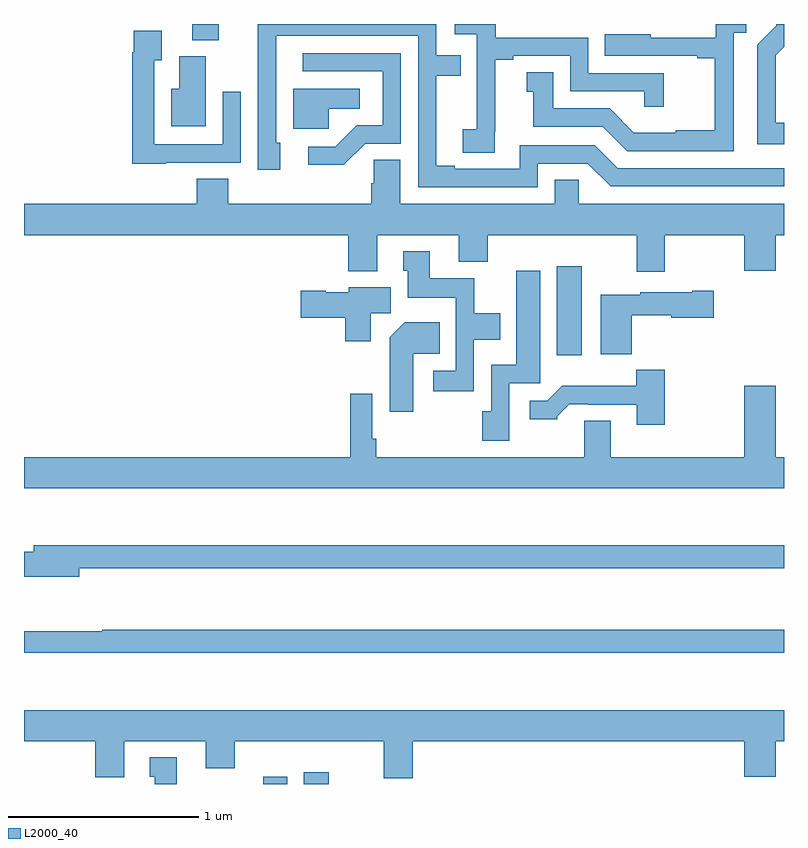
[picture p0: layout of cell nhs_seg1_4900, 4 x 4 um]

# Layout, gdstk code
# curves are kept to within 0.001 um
import gdstk
lib = gdstk.Library(unit=1e-6, precision=1e-09)
def R(c, l, rs):  # rectangles x0, y0, x1, y1
    for r in rs: c.add(gdstk.rectangle(r[:2], r[2:], *l))
def P(c, l, *ps):  # polygons
    for p in ps: c.add(gdstk.Polygon(p, *l))
L2000_40 = (2000, 40)

nhs_seg1_4900 = lib.new_cell('nhs_seg1_4900')
R(nhs_seg1_4900, L2000_40, [(378.26,526.199,378.385,526.237), (378.473,526.199,378.604,526.261), (379.805,528.456,379.936,528.925), (377.885,530.113,378.025,530.199)])
P(nhs_seg1_4900, L2000_40, [(379.478,529.633),(379.48,529.633),(379.48,530.011),(379.576,530.011),(379.576,530.031),(379.875,530.031),(379.875,529.845),(380.265,529.845),(380.265,529.764),(380.366,529.764),(380.366,529.941),(379.971,529.941),(379.971,530.127),(379.484,530.127),(379.484,530.199),(379.266,530.199),(379.266,530.145),(379.383,530.145),(379.383,529.841),(379.382,529.841),(379.382,529.644),(379.308,529.644),(379.308,529.522),(379.478,529.522)],
  [(379.704,529.464),(379.968,529.464),(380.088,529.344),(381,529.344),(381,529.44),(380.124,529.44),(380.004,529.56),(379.608,529.56),(379.608,529.437),(379.267,529.437),(379.267,529.452),(379.171,529.452),(379.171,529.926),(379.298,529.926),(379.298,530.034),(379.17,530.034),(379.17,530.199),(378.23,530.199),(378.231,529.431),(378.349,529.431),(378.349,529.575),(378.327,529.575),(378.327,530.136),(379.074,530.136),(379.074,529.341),(379.704,529.341)],
  [(381,529.679),(380.956,529.679),(380.956,530.035),(381,530.079),(381,530.199),(380.958,530.199),(380.958,530.189),(380.859,530.09),(380.859,529.566),(381,529.566)],
  [(380.736,530.153),(380.801,530.153),(380.801,530.199),(380.64,530.199),(380.64,530.127),(380.299,530.127),(380.299,530.146),(380.056,530.146),(380.056,530.031),(380.543,530.031),(380.543,530.019),(380.635,530.019),(380.635,529.639),(380.429,529.639),(380.429,529.627),(380.21,529.627),(380.082,529.755),(379.786,529.755),(379.786,529.946),(379.646,529.946),(379.646,529.843),(379.679,529.843),(379.679,529.659),(380.046,529.659),(380.175,529.53),(380.736,529.53)],
  [(377.745,529.47),(378.141,529.47),(378.141,529.843),(378.045,529.843),(378.045,529.566),(377.685,529.566),(377.685,530.008),(377.725,530.008),(377.725,530.164),(377.577,530.164),(377.577,530.051),(377.569,530.051),(377.569,529.463),(377.745,529.463)],
  [(378.795,529.569),(378.984,529.569),(378.984,530.046),(378.468,530.046),(378.468,529.95),(378.888,529.95),(378.888,529.665),(378.75,529.665),(378.639,529.554),(378.495,529.554),(378.495,529.457),(378.682,529.457)],
  [(377.956,530.028),(377.816,530.028),(377.816,529.858),(377.774,529.858),(377.774,529.661),(377.956,529.661)],
  [(378.603,529.754),(378.766,529.754),(378.766,529.858),(378.416,529.858),(378.416,529.647),(378.603,529.647)],
  [(380.373,529.088),(380.792,529.088),(380.792,528.9),(380.956,528.9),(380.956,529.088),(381,529.088),(381,529.252),(379.92,529.252),(379.92,529.379),(379.793,529.379),(379.793,529.252),(378.979,529.252),(378.979,529.484),(378.84,529.484),(378.84,529.361),(378.827,529.361),(378.827,529.252),(378.074,529.252),(378.074,529.385),(377.909,529.385),(377.909,529.252),(377,529.252),(377,529.088),(378.707,529.088),(378.707,528.899),(378.859,528.899),(378.859,529.088),(379.289,529.088),(379.289,528.947),(379.442,528.947),(379.442,529.088),(380.225,529.088),(380.225,528.894),(380.373,528.894)],
  [(379.368,528.536),(379.507,528.536),(379.507,528.676),(379.371,528.676),(379.371,528.862),(379.135,528.862),(379.135,529.003),(378.995,529.003),(378.995,528.9),(379.019,528.9),(379.019,528.758),(379.272,528.758),(379.272,528.375),(379.155,528.375),(379.155,528.267),(379.368,528.267)],
  [(379.554,528.309),(379.717,528.309),(379.717,528.901),(379.592,528.901),(379.592,528.406),(379.458,528.406),(379.458,528.162),(379.411,528.162),(379.411,528.006),(379.554,528.006)],
  [(378.826,528.676),(378.931,528.676),(378.931,528.814),(378.708,528.814),(378.708,528.787),(378.588,528.787),(378.588,528.795),(378.456,528.795),(378.456,528.653),(378.692,528.653),(378.692,528.528),(378.826,528.528)],
  [(380.198,528.665),(380.406,528.665),(380.406,528.653),(380.629,528.653),(380.629,528.795),(380.516,528.795),(380.516,528.787),(380.244,528.787),(380.244,528.775),(380.036,528.775),(380.036,528.461),(380.198,528.461)],
  [(379.048,528.464),(379.187,528.464),(379.187,528.628),(379.004,528.628),(378.926,528.55),(378.926,528.159),(379.048,528.159)],
  [(380.373,528.379),(380.223,528.379),(380.223,528.295),(379.834,528.295),(379.755,528.216),(379.662,528.216),(379.662,528.119),(379.806,528.119),(379.806,528.134),(379.87,528.198),(379.969,528.198),(379.969,528.195),(380.225,528.195),(380.225,528.09),(380.373,528.09)],
  [(381,527.92),(380.956,527.92),(380.956,528.295),(380.792,528.295),(380.792,527.92),(380.089,527.92),(380.089,528.11),(379.949,528.11),(379.949,527.92),(378.854,527.92),(378.854,528.016),(378.834,528.016),(378.834,528.253),(378.718,528.253),(378.718,527.92),(377,527.92),(377,527.756),(381,527.756)],
  [(377.29,527.334),(381,527.334),(381,527.455),(377.051,527.455),(377.051,527.421),(377,527.421),(377,527.291),(377.29,527.291)],
  [(381,527.011),(377.411,527.011),(377.411,527.003),(377,527.003),(377,526.89),(381,526.89)],
  [(379.046,526.424),(380.792,526.424),(380.792,526.236),(380.956,526.236),(380.956,526.424),(381,526.424),(381,526.588),(377,526.588),(377,526.424),(377.375,526.424),(377.375,526.235),(377.527,526.235),(377.527,526.424),(377.957,526.424),(377.957,526.283),(378.11,526.283),(378.11,526.424),(378.893,526.424),(378.893,526.23),(379.046,526.23)],
  [(377.803,526.339),(377.663,526.339),(377.663,526.236),(377.687,526.236),(377.687,526.199),(377.803,526.199)])

lib.write_gds('nhs_seg1_4900.gds')
